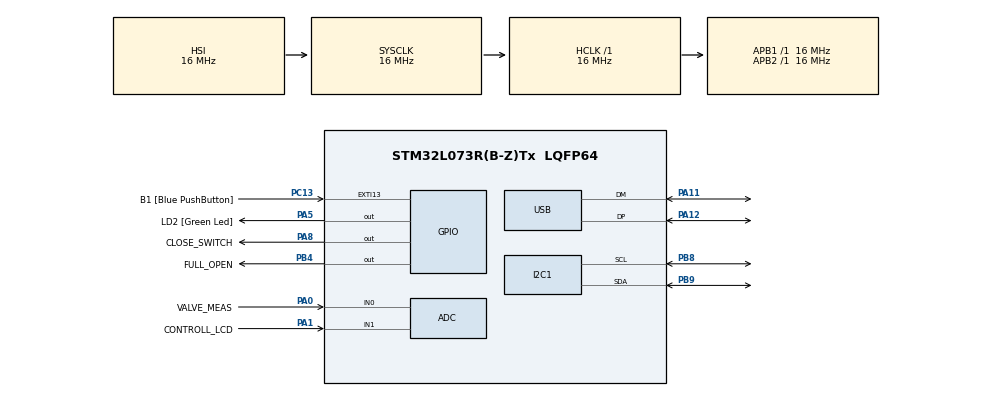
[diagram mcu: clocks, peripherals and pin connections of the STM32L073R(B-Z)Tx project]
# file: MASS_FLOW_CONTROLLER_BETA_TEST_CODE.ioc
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ADC.ClockPrescaler=ADC_CLOCK_SYNC_PCLK_DIV4
I2C1.Timing=0x00303D5B
Mcu.Family=STM32L0
Mcu.Name=STM32L073R(B-Z)Tx
Mcu.Package=LQFP64
NVIC.USB_IRQn=true\:0\:0\:false\:false\:true\:false\:true\:true
PA0.GPIO_Label=VALVE_MEAS
PA0.Mode=IN0
PA0.Signal=ADC_IN0
PA1.GPIO_Label=CONTROLL_LCD
PA1.Mode=IN1
PA1.Signal=ADC_IN1
PA11.Mode=Device
PA11.Signal=USB_DM
PA12.Mode=Device
PA12.Signal=USB_DP
PA13.GPIO_Label=TMS
PA13.Signal=SYS_SWDIO
PA14.GPIO_Label=TCK
PA14.Signal=SYS_SWCLK
PA2.GPIO_Label=USART_TX
PA2.Signal=USART2_TX
PA3.GPIO_Label=USART_RX
PA3.Signal=USART2_RX
PA5.GPIO_Label=LD2 [Green Led]
PA5.Signal=GPIO_Output
PA8.GPIO_Label=CLOSE_SWITCH
PA8.Signal=GPIO_Output
PB4.GPIO_Label=FULL_OPEN
PB4.Signal=GPIO_Output
PB8.Mode=I2C
PB8.Signal=I2C1_SCL
PB9.Mode=I2C
PB9.Signal=I2C1_SDA
PC13.GPIO_Label=B1 [Blue PushButton]
PC13.GPIO_ModeDefaultEXTI=GPIO_MODE_IT_FALLING
PC13.Signal=GPXTI13
PC14-OSC32_IN.Signal=RCC_OSC32_IN
PC15-OSC32_OUT.Signal=RCC_OSC32_OUT
PH0-OSC_IN.GPIO_Label=MCO
PH0-OSC_IN.Signal=RCC_OSC_IN
ProjectManager.HeapSize=0x200
ProjectManager.StackSize=0x400
ProjectManager.TargetToolchain=STM32CubeIDE
RCC.AHBFreq_Value=16000000
RCC.APB1Freq_Value=16000000
RCC.APB1TimFreq_Value=16000000
RCC.APB2Freq_Value=16000000
RCC.APB2TimFreq_Value=16000000
RCC.HCLKFreq_Value=16000000
RCC.HSE_VALUE=8000000
RCC.HSI16_VALUE=16000000
RCC.HSI48MClockSelection=RCC_USBCLKSOURCE_HSI48
RCC.HSI48_VALUE=48000000
RCC.HSI_VALUE=16000000
RCC.LSEState=RCC_LSE_ON
RCC.LSE_VALUE=32768
RCC.MSI_VALUE=2097000
RCC.SYSCLKFreq_VALUE=16000000
RCC.SYSCLKSource=RCC_SYSCLKSOURCE_HSI
RCC.VCOOutputFreq_Value=48000000
USB_DEVICE.CLASS_NAME_FS=CDC
USB_DEVICE.MANUFACTURER_STRING=PZE_MFC_TEAM
USB_DEVICE.PRODUCT_STRING_CDC_FS=Mass Flow Controller Device PCB
USB_DEVICE.USBD_MAX_STR_DESC_SIZ=1024
USB_DEVICE.VirtualMode=Cdc
USB_DEVICE.VirtualModeFS=Cdc_FS
VP_USB_DEVICE_VS_USB_DEVICE_CDC_FS.Mode=CDC_FS
board=NUCLEO-L073RZ

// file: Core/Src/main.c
/* USER CODE BEGIN Header */
/**
  ******************************************************************************
  * @file           : main.c
  * @brief          : Main program body
  ******************************************************************************
  * @attention
  *
  * Copyright (c) 2024 STMicroelectronics.
  * All rights reserved.
  *
  * This software is licensed under terms that can be found in the LICENSE file
  * in the root directory of this software component.
  * If no LICENSE file comes with this software, it is provided AS-IS.
  *
  ******************************************************************************
  */
/* USER CODE END Header */
#include "main.h"
#include "usb_device.h"

/* USER CODE BEGIN Includes */
#include "mfc.h"
#include "DAC.h"
extern void initialise_monitor_handles(void);
//#include "i2c-lcd.h"
/* USER CODE END Includes */

ADC_HandleTypeDef hadc;

I2C_HandleTypeDef hi2c1;

void SystemClock_Config(void);
static void MX_GPIO_Init(void);
static void MX_I2C1_Init(void);
static void MX_ADC_Init(void);

/* USER CODE BEGIN 0 */
//Transceiver myTransceiver;
MFC myMFC;
TR myTR;
Screen myScreen;

/* USER CODE END 0 */

int main(void)
{

  /* USER CODE BEGIN 1 */
	initialise_monitor_handles();
  /* USER CODE END 1 */

  /* MCU Configuration--------------------------------------------------------*/

  /* Reset of all peripherals, Initializes the Flash interface and the Systick. */
  HAL_Init();

  /* Configure the system clock */
  SystemClock_Config();

  /* Initialize all configured peripherals */
  MX_GPIO_Init();
  MX_USB_DEVICE_Init();
  MX_I2C1_Init();
  MX_ADC_Init();
  /* USER CODE BEGIN 2 */
  MFC_Init(&myMFC);
  TR_Init(&myTR);
  Screen_Init(&myScreen);

//	HAL_GPIO_WritePin(GND_SWITCH_GPIO_Port, GND_SWITCH_Pin, 0);
	HAL_GPIO_WritePin(FULL_OPEN_GPIO_Port, FULL_OPEN_Pin, 0);
	HAL_Delay(10);
	HAL_GPIO_WritePin(CLOSE_SWITCH_GPIO_Port, CLOSE_SWITCH_Pin, 1);

  /* USER CODE END 2 */

  /* Infinite loop */
  /* USER CODE BEGIN WHILE */
  while (1)
  {
//	  	Screen_Update(&myScreen, &myMFC);
		if(TR_IsReceiveStatus(&myTR))
		{
			MFC_ProcessReceivedData(&myMFC, &myTR);
			TR_SetFlag(&myTR, IDLE);
		}
//	  sprintf(zbyszek, "licznik: %f", myMFC.channels[0].settedFlow);
//	  lcd_put_cur(0, 0);
//	  lcd_send_string(zbyszek);
//	  HAL_Delay(100);
//	  lcd_clear();

    /* USER CODE END WHILE */

  }
}

void SystemClock_Config(void)
{
  RCC_OscInitTypeDef RCC_OscInitStruct = {0};
  RCC_ClkInitTypeDef RCC_ClkInitStruct = {0};
  RCC_PeriphCLKInitTypeDef PeriphClkInit = {0};

  /** Configure the main internal regulator output voltage
  */
  __HAL_PWR_VOLTAGESCALING_CONFIG(PWR_REGULATOR_VOLTAGE_SCALE1);

  /** Initializes the RCC Oscillators according to the specified parameters
  * in the RCC_OscInitTypeDef structure.
  */
  RCC_OscInitStruct.OscillatorType = RCC_OSCILLATORTYPE_HSI|RCC_OSCILLATORTYPE_HSI48;
  RCC_OscInitStruct.HSIState = RCC_HSI_ON;
  RCC_OscInitStruct.HSICalibrationValue = RCC_HSICALIBRATION_DEFAULT;
  RCC_OscInitStruct.HSI48State = RCC_HSI48_ON;
  RCC_OscInitStruct.PLL.PLLState = RCC_PLL_NONE;
  if (HAL_RCC_OscConfig(&RCC_OscInitStruct) != HAL_OK)
  {
    Error_Handler();
  }

  /** Initializes the CPU, AHB and APB buses clocks
  */
  RCC_ClkInitStruct.ClockType = RCC_CLOCKTYPE_HCLK|RCC_CLOCKTYPE_SYSCLK
                              |RCC_CLOCKTYPE_PCLK1|RCC_CLOCKTYPE_PCLK2;
  RCC_ClkInitStruct.SYSCLKSource = RCC_SYSCLKSOURCE_HSI;
  RCC_ClkInitStruct.AHBCLKDivider = RCC_SYSCLK_DIV1;
  RCC_ClkInitStruct.APB1CLKDivider = RCC_HCLK_DIV1;
  RCC_ClkInitStruct.APB2CLKDivider = RCC_HCLK_DIV1;

  if (HAL_RCC_ClockConfig(&RCC_ClkInitStruct, FLASH_LATENCY_0) != HAL_OK)
  {
    Error_Handler();
  }
  PeriphClkInit.PeriphClockSelection = RCC_PERIPHCLK_I2C1|RCC_PERIPHCLK_USB;
  PeriphClkInit.I2c1ClockSelection = RCC_I2C1CLKSOURCE_PCLK1;
  PeriphClkInit.UsbClockSelection = RCC_USBCLKSOURCE_HSI48;
  if (HAL_RCCEx_PeriphCLKConfig(&PeriphClkInit) != HAL_OK)
  {
    Error_Handler();
  }
}

static void MX_ADC_Init(void)
{

  ADC_ChannelConfTypeDef sConfig = {0};

  /** Configure the global features of the ADC (Clock, Resolution, Data Alignment and number of conversion)
  */
  hadc.Instance = ADC1;
  hadc.Init.OversamplingMode = DISABLE;
  hadc.Init.ClockPrescaler = ADC_CLOCK_SYNC_PCLK_DIV4;
  hadc.Init.Resolution = ADC_RESOLUTION_12B;
  hadc.Init.SamplingTime = ADC_SAMPLETIME_1CYCLE_5;
  hadc.Init.ScanConvMode = ADC_SCAN_DIRECTION_FORWARD;
  hadc.Init.DataAlign = ADC_DATAALIGN_RIGHT;
  hadc.Init.ContinuousConvMode = DISABLE;
  hadc.Init.DiscontinuousConvMode = DISABLE;
  hadc.Init.ExternalTrigConvEdge = ADC_EXTERNALTRIGCONVEDGE_NONE;
  hadc.Init.ExternalTrigConv = ADC_SOFTWARE_START;
  hadc.Init.DMAContinuousRequests = DISABLE;
  hadc.Init.EOCSelection = ADC_EOC_SINGLE_CONV;
  hadc.Init.Overrun = ADC_OVR_DATA_PRESERVED;
  hadc.Init.LowPowerAutoWait = DISABLE;
  hadc.Init.LowPowerFrequencyMode = DISABLE;
  hadc.Init.LowPowerAutoPowerOff = DISABLE;
  if (HAL_ADC_Init(&hadc) != HAL_OK)
  {
    Error_Handler();
  }

  /** Configure for the selected ADC regular channel to be converted.
  */
  sConfig.Channel = ADC_CHANNEL_0;
  sConfig.Rank = ADC_RANK_CHANNEL_NUMBER;
  if (HAL_ADC_ConfigChannel(&hadc, &sConfig) != HAL_OK)
  {
    Error_Handler();
  }

  /** Configure for the selected ADC regular channel to be converted.
  */
  sConfig.Channel = ADC_CHANNEL_1;
  if (HAL_ADC_ConfigChannel(&hadc, &sConfig) != HAL_OK)
  {
    Error_Handler();
  }

}

static void MX_I2C1_Init(void)
{

  hi2c1.Instance = I2C1;
  hi2c1.Init.Timing = 0x00303D5B;
  hi2c1.Init.OwnAddress1 = 0;
  hi2c1.Init.AddressingMode = I2C_ADDRESSINGMODE_7BIT;
  hi2c1.Init.DualAddressMode = I2C_DUALADDRESS_DISABLE;
  hi2c1.Init.OwnAddress2 = 0;
  hi2c1.Init.OwnAddress2Masks = I2C_OA2_NOMASK;
  hi2c1.Init.GeneralCallMode = I2C_GENERALCALL_DISABLE;
  hi2c1.Init.NoStretchMode = I2C_NOSTRETCH_DISABLE;
  if (HAL_I2C_Init(&hi2c1) != HAL_OK)
  {
    Error_Handler();
  }

  /** Configure Analogue filter
  */
  if (HAL_I2CEx_ConfigAnalogFilter(&hi2c1, I2C_ANALOGFILTER_ENABLE) != HAL_OK)
  {
    Error_Handler();
  }

  /** Configure Digital filter
  */
  if (HAL_I2CEx_ConfigDigitalFilter(&hi2c1, 0) != HAL_OK)
  {
    Error_Handler();
  }

}

static void MX_GPIO_Init(void)
{
  GPIO_InitTypeDef GPIO_InitStruct = {0};

  /* GPIO Ports Clock Enable */
  __HAL_RCC_GPIOC_CLK_ENABLE();
  __HAL_RCC_GPIOH_CLK_ENABLE();
  __HAL_RCC_GPIOA_CLK_ENABLE();
  __HAL_RCC_GPIOB_CLK_ENABLE();

  /*Configure GPIO pin Output Level */
  HAL_GPIO_WritePin(GPIOA, LD2_Pin|CLOSE_SWITCH_Pin, GPIO_PIN_RESET);

  /*Configure GPIO pin Output Level */
  HAL_GPIO_WritePin(FULL_OPEN_GPIO_Port, FULL_OPEN_Pin, GPIO_PIN_RESET);

  /*Configure GPIO pin : B1_Pin */
  GPIO_InitStruct.Pin = B1_Pin;
  GPIO_InitStruct.Mode = GPIO_MODE_IT_FALLING;
  GPIO_InitStruct.Pull = GPIO_NOPULL;
  HAL_GPIO_Init(B1_GPIO_Port, &GPIO_InitStruct);

  /*Configure GPIO pins : USART_TX_Pin USART_RX_Pin */
  GPIO_InitStruct.Pin = USART_TX_Pin|USART_RX_Pin;
  GPIO_InitStruct.Mode = GPIO_MODE_AF_PP;
  GPIO_InitStruct.Pull = GPIO_NOPULL;
  GPIO_InitStruct.Speed = GPIO_SPEED_FREQ_VERY_HIGH;
  GPIO_InitStruct.Alternate = GPIO_AF4_USART2;
  HAL_GPIO_Init(GPIOA, &GPIO_InitStruct);

  /*Configure GPIO pins : LD2_Pin CLOSE_SWITCH_Pin */
  GPIO_InitStruct.Pin = LD2_Pin|CLOSE_SWITCH_Pin;
  GPIO_InitStruct.Mode = GPIO_MODE_OUTPUT_PP;
  GPIO_InitStruct.Pull = GPIO_NOPULL;
  GPIO_InitStruct.Speed = GPIO_SPEED_FREQ_LOW;
  HAL_GPIO_Init(GPIOA, &GPIO_InitStruct);

  /*Configure GPIO pin : FULL_OPEN_Pin */
  GPIO_InitStruct.Pin = FULL_OPEN_Pin;
  GPIO_InitStruct.Mode = GPIO_MODE_OUTPUT_PP;
  GPIO_InitStruct.Pull = GPIO_NOPULL;
  GPIO_InitStruct.Speed = GPIO_SPEED_FREQ_LOW;
  HAL_GPIO_Init(FULL_OPEN_GPIO_Port, &GPIO_InitStruct);

}

void Error_Handler(void)
{
  __disable_irq();
  while (1)
  {
  }
}
